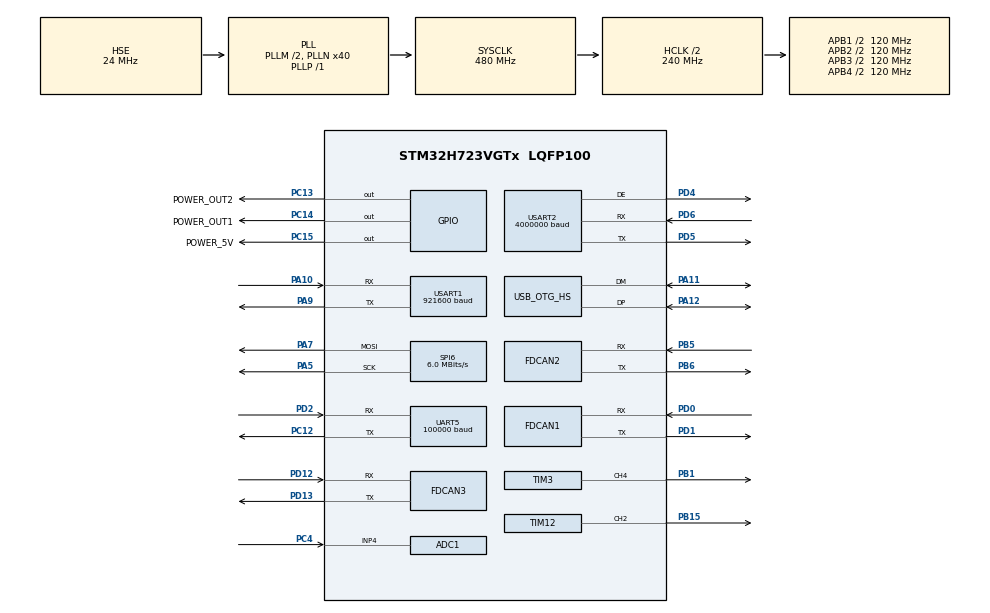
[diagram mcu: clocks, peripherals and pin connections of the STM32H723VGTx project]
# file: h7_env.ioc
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ADC1.Channel-0\#ChannelRegularConversion=ADC_CHANNEL_4
ADC1.ClockPrescaler=ADC_CLOCK_ASYNC_DIV64
ADC1.ContinuousConvMode=ENABLE
ADC1.ConversionDataManagement=ADC_CONVERSIONDATA_DMA_CIRCULAR
ADC1.NbrOfConversionFlag=1
ADC1.OffsetNumber-0\#ChannelRegularConversion=ADC_OFFSET_NONE
ADC1.OffsetSignedSaturation-0\#ChannelRegularConversion=DISABLE
ADC1.Rank-0\#ChannelRegularConversion=1
ADC1.SamplingTime-0\#ChannelRegularConversion=ADC_SAMPLETIME_32CYCLES_5
ADC1.master=1
ADC3.Channel-0\#ChannelRegularConversion=ADC_CHANNEL_TEMPSENSOR
ADC3.ClockPrescaler=ADC_CLOCK_ASYNC_DIV64
ADC3.NbrOfConversionFlag=1
ADC3.OffsetNumber-0\#ChannelRegularConversion=ADC_OFFSET_NONE
ADC3.OffsetSign-0\#ChannelRegularConversion=ADC3_OFFSET_SIGN_NEGATIVE
ADC3.Rank-0\#ChannelRegularConversion=1
ADC3.SamplingTime-0\#ChannelRegularConversion=ADC3_SAMPLETIME_640CYCLES_5
Bdma.Request0=SPI6_TX
Bdma.RequestsNb=1
Bdma.SPI6_TX.0.Direction=DMA_MEMORY_TO_PERIPH
Bdma.SPI6_TX.0.EventEnable=DISABLE
Bdma.SPI6_TX.0.Instance=BDMA_Channel0
Bdma.SPI6_TX.0.MemDataAlignment=DMA_MDATAALIGN_BYTE
Bdma.SPI6_TX.0.MemInc=DMA_MINC_ENABLE
Bdma.SPI6_TX.0.Mode=DMA_NORMAL
Bdma.SPI6_TX.0.PeriphDataAlignment=DMA_PDATAALIGN_BYTE
Bdma.SPI6_TX.0.PeriphInc=DMA_PINC_DISABLE
Bdma.SPI6_TX.0.Polarity=HAL_DMAMUX_REQ_GEN_RISING
Bdma.SPI6_TX.0.Priority=DMA_PRIORITY_MEDIUM
Bdma.SPI6_TX.0.RequestNumber=1
Bdma.SPI6_TX.0.SignalID=NONE
Bdma.SPI6_TX.0.SyncEnable=DISABLE
Bdma.SPI6_TX.0.SyncPolarity=HAL_DMAMUX_SYNC_NO_EVENT
Bdma.SPI6_TX.0.SyncRequestNumber=1
Bdma.SPI6_TX.0.SyncSignalID=NONE
CORTEX_M7.AccessPermission_S-Cortex_Memory_Protection_Unit_Region1_Settings_S=MPU_REGION_FULL_ACCESS
CORTEX_M7.AccessPermission_S-Cortex_Memory_Protection_Unit_Region2_Settings_S=MPU_REGION_FULL_ACCESS
CORTEX_M7.AccessPermission_Spec=MPU_REGION_FULL_ACCESS
CORTEX_M7.BaseAddress_S-Cortex_Memory_Protection_Unit_Region1_Settings_S=0x30000000
CORTEX_M7.BaseAddress_S-Cortex_Memory_Protection_Unit_Region2_Settings_S=0x38000000
CORTEX_M7.BaseAddress_Spec=0x24000000
CORTEX_M7.CPU_DCache=Enabled
CORTEX_M7.CPU_ICache=Enabled
CORTEX_M7.DisableExec_Spec=MPU_INSTRUCTION_ACCESS_ENABLE
CORTEX_M7.Enable_S-Cortex_Memory_Protection_Unit_Region1_Settings_S=MPU_REGION_ENABLE
CORTEX_M7.Enable_S-Cortex_Memory_Protection_Unit_Region2_Settings_S=MPU_REGION_ENABLE
CORTEX_M7.IsShareable_Spec=MPU_ACCESS_NOT_SHAREABLE
CORTEX_M7.MPU_Control=MPU_HFNMI_PRIVDEF
CORTEX_M7.Size_S-Cortex_Memory_Protection_Unit_Region1_Settings_S=MPU_REGION_SIZE_32KB
CORTEX_M7.Size_S-Cortex_Memory_Protection_Unit_Region2_Settings_S=MPU_REGION_SIZE_16KB
CORTEX_M7.Size_Spec=MPU_REGION_SIZE_512KB
CORTEX_M7.SubRegionDisable_Spec=0x0
CORTEX_M7.default_mode_Activation=1
Dma.ADC1.0.Direction=DMA_PERIPH_TO_MEMORY
Dma.ADC1.0.EventEnable=DISABLE
Dma.ADC1.0.FIFOMode=DMA_FIFOMODE_DISABLE
Dma.ADC1.0.Instance=DMA1_Stream0
Dma.ADC1.0.MemDataAlignment=DMA_MDATAALIGN_HALFWORD
Dma.ADC1.0.MemInc=DMA_MINC_ENABLE
Dma.ADC1.0.Mode=DMA_CIRCULAR
Dma.ADC1.0.PeriphDataAlignment=DMA_PDATAALIGN_HALFWORD
Dma.ADC1.0.PeriphInc=DMA_PINC_DISABLE
Dma.ADC1.0.Polarity=HAL_DMAMUX_REQ_GEN_RISING
Dma.ADC1.0.Priority=DMA_PRIORITY_LOW
Dma.ADC1.0.RequestNumber=1
Dma.ADC1.0.SignalID=NONE
Dma.ADC1.0.SyncEnable=DISABLE
Dma.ADC1.0.SyncPolarity=HAL_DMAMUX_SYNC_NO_EVENT
Dma.ADC1.0.SyncRequestNumber=1
Dma.ADC1.0.SyncSignalID=NONE
Dma.Request0=ADC1
Dma.Request1=UART5_RX
Dma.Request2=USART1_RX
Dma.Request3=USART1_TX
Dma.Request4=USART2_RX
Dma.Request5=USART2_TX
Dma.UART5_RX.1.Direction=DMA_PERIPH_TO_MEMORY
Dma.UART5_RX.1.EventEnable=DISABLE
Dma.UART5_RX.1.FIFOMode=DMA_FIFOMODE_DISABLE
Dma.UART5_RX.1.Instance=DMA1_Stream1
Dma.UART5_RX.1.MemDataAlignment=DMA_MDATAALIGN_BYTE
Dma.UART5_RX.1.MemInc=DMA_MINC_ENABLE
Dma.UART5_RX.1.Mode=DMA_CIRCULAR
Dma.UART5_RX.1.PeriphDataAlignment=DMA_PDATAALIGN_BYTE
Dma.UART5_RX.1.PeriphInc=DMA_PINC_DISABLE
Dma.UART5_RX.1.Polarity=HAL_DMAMUX_REQ_GEN_RISING
Dma.UART5_RX.1.Priority=DMA_PRIORITY_VERY_HIGH
Dma.UART5_RX.1.RequestNumber=1
Dma.UART5_RX.1.SignalID=NONE
Dma.UART5_RX.1.SyncEnable=DISABLE
Dma.UART5_RX.1.SyncPolarity=HAL_DMAMUX_SYNC_NO_EVENT
Dma.UART5_RX.1.SyncRequestNumber=1
Dma.UART5_RX.1.SyncSignalID=NONE
Dma.USART1_RX.2.Direction=DMA_PERIPH_TO_MEMORY
Dma.USART1_RX.2.EventEnable=DISABLE
Dma.USART1_RX.2.FIFOMode=DMA_FIFOMODE_DISABLE
Dma.USART1_RX.2.Instance=DMA1_Stream2
Dma.USART1_RX.2.MemDataAlignment=DMA_MDATAALIGN_BYTE
Dma.USART1_RX.2.MemInc=DMA_MINC_ENABLE
Dma.USART1_RX.2.Mode=DMA_CIRCULAR
Dma.USART1_RX.2.PeriphDataAlignment=DMA_PDATAALIGN_BYTE
Dma.USART1_RX.2.PeriphInc=DMA_PINC_DISABLE
Dma.USART1_RX.2.Polarity=HAL_DMAMUX_REQ_GEN_RISING
Dma.USART1_RX.2.Priority=DMA_PRIORITY_VERY_HIGH
Dma.USART1_RX.2.RequestNumber=1
Dma.USART1_RX.2.SignalID=NONE
Dma.USART1_RX.2.SyncEnable=DISABLE
Dma.USART1_RX.2.SyncPolarity=HAL_DMAMUX_SYNC_NO_EVENT
Dma.USART1_RX.2.SyncRequestNumber=1
Dma.USART1_RX.2.SyncSignalID=NONE
Dma.USART1_TX.3.Direction=DMA_MEMORY_TO_PERIPH
Dma.USART1_TX.3.EventEnable=DISABLE
Dma.USART1_TX.3.FIFOMode=DMA_FIFOMODE_DISABLE
Dma.USART1_TX.3.Instance=DMA1_Stream3
Dma.USART1_TX.3.MemDataAlignment=DMA_MDATAALIGN_BYTE
Dma.USART1_TX.3.MemInc=DMA_MINC_ENABLE
Dma.USART1_TX.3.Mode=DMA_NORMAL
Dma.USART1_TX.3.PeriphDataAlignment=DMA_PDATAALIGN_BYTE
Dma.USART1_TX.3.PeriphInc=DMA_PINC_DISABLE
Dma.USART1_TX.3.Polarity=HAL_DMAMUX_REQ_GEN_RISING
Dma.USART1_TX.3.Priority=DMA_PRIORITY_VERY_HIGH
Dma.USART1_TX.3.RequestNumber=1
Dma.USART1_TX.3.SignalID=NONE
Dma.USART1_TX.3.SyncEnable=DISABLE
Dma.USART1_TX.3.SyncPolarity=HAL_DMAMUX_SYNC_NO_EVENT
Dma.USART1_TX.3.SyncRequestNumber=1
Dma.USART1_TX.3.SyncSignalID=NONE
Dma.USART2_RX.4.Direction=DMA_PERIPH_TO_MEMORY
Dma.USART2_RX.4.EventEnable=DISABLE
Dma.USART2_RX.4.FIFOMode=DMA_FIFOMODE_DISABLE
Dma.USART2_RX.4.Instance=DMA1_Stream4
Dma.USART2_RX.4.MemDataAlignment=DMA_MDATAALIGN_BYTE
Dma.USART2_RX.4.MemInc=DMA_MINC_ENABLE
Dma.USART2_RX.4.Mode=DMA_CIRCULAR
Dma.USART2_RX.4.PeriphDataAlignment=DMA_PDATAALIGN_BYTE
Dma.USART2_RX.4.PeriphInc=DMA_PINC_DISABLE
Dma.USART2_RX.4.Polarity=HAL_DMAMUX_REQ_GEN_RISING
Dma.USART2_RX.4.Priority=DMA_PRIORITY_VERY_HIGH
Dma.USART2_RX.4.RequestNumber=1
Dma.USART2_RX.4.SignalID=NONE
Dma.USART2_RX.4.SyncEnable=DISABLE
Dma.USART2_RX.4.SyncPolarity=HAL_DMAMUX_SYNC_NO_EVENT
Dma.USART2_RX.4.SyncRequestNumber=1
Dma.USART2_RX.4.SyncSignalID=NONE
Dma.USART2_TX.5.Direction=DMA_MEMORY_TO_PERIPH
Dma.USART2_TX.5.EventEnable=DISABLE
Dma.USART2_TX.5.FIFOMode=DMA_FIFOMODE_DISABLE
Dma.USART2_TX.5.Instance=DMA1_Stream5
Dma.USART2_TX.5.MemDataAlignment=DMA_MDATAALIGN_BYTE
Dma.USART2_TX.5.MemInc=DMA_MINC_ENABLE
Dma.USART2_TX.5.Mode=DMA_NORMAL
Dma.USART2_TX.5.PeriphDataAlignment=DMA_PDATAALIGN_BYTE
Dma.USART2_TX.5.PeriphInc=DMA_PINC_DISABLE
Dma.USART2_TX.5.Polarity=HAL_DMAMUX_REQ_GEN_RISING
Dma.USART2_TX.5.Priority=DMA_PRIORITY_VERY_HIGH
Dma.USART2_TX.5.RequestNumber=1
Dma.USART2_TX.5.SignalID=NONE
Dma.USART2_TX.5.SyncEnable=DISABLE
Dma.USART2_TX.5.SyncPolarity=HAL_DMAMUX_SYNC_NO_EVENT
Dma.USART2_TX.5.SyncRequestNumber=1
Dma.USART2_TX.5.SyncSignalID=NONE
FDCAN1.AutoRetransmission=ENABLE
FDCAN1.CalculateBaudRateNominal=999999
FDCAN1.CalculateTimeBitNominal=1000
FDCAN1.CalculateTimeQuantumNominal=16.666666666666668
FDCAN1.DataPrescaler=2
FDCAN1.DataSyncJumpWidth=3
FDCAN1.DataTimeSeg1=8
FDCAN1.DataTimeSeg2=3
FDCAN1.ExtFiltersNbr=4
FDCAN1.FrameFormat=FDCAN_FRAME_FD_BRS
FDCAN1.NominalPrescaler=2
FDCAN1.NominalSyncJumpWidth=15
FDCAN1.NominalTimeSeg1=44
FDCAN1.NominalTimeSeg2=15
FDCAN1.ProtocolException=ENABLE
FDCAN1.RxFifo0ElmtsNbr=12
FDCAN1.StdFiltersNbr=4
FDCAN1.TxFifoQueueElmtsNbr=12
FDCAN2.AutoRetransmission=ENABLE
FDCAN2.CalculateBaudRateNominal=999999
FDCAN2.CalculateTimeBitNominal=1000
FDCAN2.CalculateTimeQuantumNominal=16.666666666666668
FDCAN2.DataPrescaler=2
FDCAN2.DataSyncJumpWidth=3
FDCAN2.DataTimeSeg1=8
FDCAN2.DataTimeSeg2=3
FDCAN2.ExtFiltersNbr=5
FDCAN2.FrameFormat=FDCAN_FRAME_FD_BRS
FDCAN2.MessageRAMOffset=854
FDCAN2.NominalPrescaler=2
FDCAN2.NominalSyncJumpWidth=15
FDCAN2.NominalTimeSeg1=44
FDCAN2.NominalTimeSeg2=15
FDCAN2.ProtocolException=ENABLE
FDCAN2.RxFifo0ElmtsNbr=10
FDCAN2.StdFiltersNbr=5
FDCAN2.TxFifoQueueElmtsNbr=10
FDCAN3.AutoRetransmission=ENABLE
FDCAN3.CalculateBaudRateNominal=1000000
FDCAN3.CalculateTimeBitNominal=1000
FDCAN3.CalculateTimeQuantumNominal=25.0
FDCAN3.DataPrescaler=3
FDCAN3.DataSyncJumpWidth=10
FDCAN3.DataTimeSeg1=29
FDCAN3.DataTimeSeg2=10
FDCAN3.ExtFiltersNbr=6
FDCAN3.MessageRAMOffset=1709
FDCAN3.NominalPrescaler=3
FDCAN3.NominalSyncJumpWidth=10
FDCAN3.NominalTimeSeg1=29
FDCAN3.NominalTimeSeg2=10
FDCAN3.ProtocolException=ENABLE
FDCAN3.RxFifo0ElmtsNbr=8
FDCAN3.StdFiltersNbr=6
FDCAN3.TxFifoQueueElmtsNbr=8
FREERTOS.Tasks01=defaultTask,24,128,StartDefaultTask,Default,NULL,Dynamic,NULL,NULL;LED_CTRL_TASK,24,128,led_ctrl,As weak,NULL,Dynamic,NULL,NULL
Mcu.Family=STM32H7
Mcu.Name=STM32H723VGTx
Mcu.Package=LQFP100
NVIC.BDMA_Channel0_IRQn=true\:5\:0\:false\:false\:true\:true\:false\:true\:true
NVIC.DMA1_Stream0_IRQn=true\:5\:0\:false\:false\:true\:true\:false\:true\:true
NVIC.DMA1_Stream1_IRQn=true\:5\:0\:false\:false\:true\:true\:false\:true\:true
NVIC.DMA1_Stream2_IRQn=true\:5\:0\:false\:false\:true\:true\:false\:true\:true
NVIC.DMA1_Stream3_IRQn=true\:5\:0\:false\:false\:true\:true\:false\:true\:true
NVIC.DMA1_Stream4_IRQn=true\:5\:0\:false\:false\:true\:true\:false\:true\:true
NVIC.DMA1_Stream5_IRQn=true\:5\:0\:false\:false\:true\:true\:false\:true\:true
NVIC.FDCAN1_IT0_IRQn=true\:5\:0\:false\:false\:true\:true\:true\:true\:true
NVIC.FDCAN2_IT0_IRQn=true\:5\:0\:false\:false\:true\:true\:true\:true\:true
NVIC.FDCAN3_IT0_IRQn=true\:5\:0\:false\:false\:true\:true\:true\:true\:true
NVIC.OTG_HS_IRQn=true\:5\:0\:false\:false\:true\:true\:false\:true\:true
NVIC.PriorityGroup=NVIC_PRIORITYGROUP_4
NVIC.SPI6_IRQn=true\:5\:0\:false\:false\:true\:true\:false\:true\:true
NVIC.TIM3_IRQn=true\:5\:0\:false\:false\:true\:true\:true\:true\:true
NVIC.TIM4_IRQn=true\:5\:0\:false\:false\:true\:true\:true\:true\:true
NVIC.TIM5_IRQn=true\:5\:0\:false\:false\:true\:true\:true\:true\:true
NVIC.TIM6_DAC_IRQn=true\:15\:0\:false\:false\:true\:false\:false\:true\:true
NVIC.TimeBase=TIM6_DAC_IRQn
NVIC.TimeBaseIP=TIM6
NVIC.UART5_IRQn=true\:5\:0\:false\:false\:true\:true\:true\:true\:true
NVIC.USART1_IRQn=true\:5\:0\:false\:false\:true\:true\:true\:true\:true
NVIC.USART2_IRQn=true\:5\:0\:false\:false\:true\:true\:false\:true\:true
PA10.GPIO_PuPd=GPIO_PULLUP
PA10.GPIO_Speed=GPIO_SPEED_FREQ_VERY_HIGH
PA10.Mode=Asynchronous
PA10.Signal=USART1_RX
PA11.Mode=Device_Only_FS
PA11.Signal=USB_OTG_HS_DM
PA12.Mode=Device_Only_FS
PA12.Signal=USB_OTG_HS_DP
PA13(JTMS/SWDIO).Mode=Serial_Wire
PA13(JTMS/SWDIO).Signal=DEBUG_JTMS-SWDIO
PA14(JTCK/SWCLK).Mode=Serial_Wire
PA14(JTCK/SWCLK).Signal=DEBUG_JTCK-SWCLK
PA5.GPIO_Speed=GPIO_SPEED_FREQ_VERY_HIGH
PA5.Mode=TX_Only_Simplex_Unidirect_Master
PA5.Signal=SPI6_SCK
PA7.GPIO_Speed=GPIO_SPEED_FREQ_VERY_HIGH
PA7.Mode=TX_Only_Simplex_Unidirect_Master
PA7.Signal=SPI6_MOSI
PA9.GPIO_PuPd=GPIO_PULLUP
PA9.GPIO_Speed=GPIO_SPEED_FREQ_VERY_HIGH
PA9.Mode=Asynchronous
PA9.Signal=USART1_TX
PB1.GPIO_PuPd=GPIO_PULLUP
PB1.GPIO_Speed=GPIO_SPEED_FREQ_VERY_HIGH
PB1.Signal=S_TIM3_CH4
PB15.GPIO_PuPd=GPIO_PULLUP
PB15.GPIO_Speed=GPIO_SPEED_FREQ_VERY_HIGH
PB15.Signal=S_TIM12_CH2
PB5.GPIO_PuPd=GPIO_PULLUP
PB5.GPIO_Speed=GPIO_SPEED_FREQ_VERY_HIGH
PB5.Mode=FDCAN_Activate
PB5.Signal=FDCAN2_RX
PB6.GPIO_PuPd=GPIO_PULLUP
PB6.GPIO_Speed=GPIO_SPEED_FREQ_VERY_HIGH
PB6.Mode=FDCAN_Activate
PB6.Signal=FDCAN2_TX
PC12.Mode=Asynchronous
PC12.Signal=UART5_TX
PC13.GPIO_Label=POWER_OUT2
PC13.GPIO_PuPd=GPIO_PULLUP
PC13.Signal=GPIO_Output
PC14-OSC32_IN.GPIO_Label=POWER_OUT1
PC14-OSC32_IN.GPIO_PuPd=GPIO_PULLUP
PC14-OSC32_IN.Signal=GPIO_Output
PC15-OSC32_OUT.GPIO_Label=POWER_5V
PC15-OSC32_OUT.GPIO_PuPd=GPIO_PULLUP
PC15-OSC32_OUT.Signal=GPIO_Output
PC4.Signal=ADCx_INP4
PD0.GPIO_PuPd=GPIO_PULLUP
PD0.GPIO_Speed=GPIO_SPEED_FREQ_VERY_HIGH
PD0.Mode=FDCAN_Activate
PD0.Signal=FDCAN1_RX
PD1.GPIO_PuPd=GPIO_PULLUP
PD1.GPIO_Speed=GPIO_SPEED_FREQ_VERY_HIGH
PD1.Mode=FDCAN_Activate
PD1.Signal=FDCAN1_TX
PD12.GPIO_PuPd=GPIO_PULLUP
PD12.GPIO_Speed=GPIO_SPEED_FREQ_VERY_HIGH
PD12.Mode=FDCAN_Activate
PD12.Signal=FDCAN3_RX
PD13.GPIO_PuPd=GPIO_PULLUP
PD13.GPIO_Speed=GPIO_SPEED_FREQ_VERY_HIGH
PD13.Mode=FDCAN_Activate
PD13.Signal=FDCAN3_TX
PD2.GPIO_PuPd=GPIO_PULLUP
PD2.GPIO_Speed=GPIO_SPEED_FREQ_VERY_HIGH
PD2.Mode=Asynchronous
PD2.Signal=UART5_RX
PD4.GPIO_PuPd=GPIO_PULLUP
PD4.GPIO_Speed=GPIO_SPEED_FREQ_VERY_HIGH
PD4.Mode=Hardware Flow Control (RS485)
PD4.Signal=USART2_DE
PD5.GPIO_PuPd=GPIO_PULLUP
PD5.GPIO_Speed=GPIO_SPEED_FREQ_VERY_HIGH
PD5.Mode=Asynchronous
PD5.Signal=USART2_TX
PD6.GPIO_PuPd=GPIO_PULLUP
PD6.GPIO_Speed=GPIO_SPEED_FREQ_VERY_HIGH
PD6.Mode=Asynchronous
PD6.Signal=USART2_RX
PH0-OSC_IN.Mode=HSE-External-Oscillator
PH0-OSC_IN.Signal=RCC_OSC_IN
PH1-OSC_OUT.Mode=HSE-External-Oscillator
PH1-OSC_OUT.Signal=RCC_OSC_OUT
ProjectManager.HeapSize=0x2000
ProjectManager.StackSize=0x4000
ProjectManager.TargetToolchain=CMake
RCC.ADCFreq_Value=100000000
RCC.APB1Freq_Value=120000000
RCC.APB2Freq_Value=120000000
RCC.APB3Freq_Value=120000000
RCC.APB4Freq_Value=120000000
RCC.CortexFreq_Value=480000000
RCC.D1PPRE=RCC_APB3_DIV2
RCC.D2PPRE1=RCC_APB1_DIV2
RCC.D2PPRE2=RCC_APB2_DIV2
RCC.D3PPRE=RCC_APB4_DIV2
RCC.DIVM1=2
RCC.DIVM2=24
RCC.DIVN1=40
RCC.DIVN2=200
RCC.DIVP1=1
RCC.DIVQ1=4
RCC.HCLKFreq_Value=240000000
RCC.HPRE=RCC_HCLK_DIV2
RCC.HSE_VALUE=24000000
RCC.PLLFRACN=0
RCC.PLLSourceVirtual=RCC_PLLSOURCE_HSE
RCC.SPI6CLockSelection=RCC_SPI6CLKSOURCE_HSE
RCC.SYSCLKFreq_VALUE=480000000
RCC.SYSCLKSource=RCC_SYSCLKSOURCE_PLLCLK
RCC.USBCLockSelection=RCC_USBCLKSOURCE_HSI48
RCC.USBFreq_Value=48000000
SH.ADCx_INP4.0=ADC1_INP4,IN4-Single-Ended
SH.S_TIM12_CH2.0=TIM12_CH2,PWM Generation2 CH2
SH.S_TIM3_CH4.0=TIM3_CH4,PWM Generation4 CH4
SPI6.BaudRatePrescaler=SPI_BAUDRATEPRESCALER_4
SPI6.CLKPhase=SPI_PHASE_2EDGE
SPI6.CalculateBaudRate=6.0 MBits/s
SPI6.DataSize=SPI_DATASIZE_8BIT
SPI6.Direction=SPI_DIRECTION_2LINES_TXONLY
SPI6.Mode=SPI_MODE_MASTER
SPI6.VirtualType=VM_MASTER
STMicroelectronics.X-CUBE-ALGOBUILD.1.5.0.LibraryCcDSPOoLibraryJjDSPOoLibrary=true
TIM12.Channel-PWM\ Generation2\ CH2=TIM_CHANNEL_2
TIM12.Period=0
TIM12.Prescaler=24000-1
TIM3.Channel-PWM\ Generation4\ CH4=TIM_CHANNEL_4
TIM3.Period=10000-1
TIM3.Prescaler=24-1
TIM4.Period=1000-1
TIM4.Prescaler=120-1
TIM5.Period=1000-1
TIM5.Prescaler=160-1
UART5.BaudRate=100000
UART5.Parity=PARITY_EVEN
UART5.StopBits=UART_STOPBITS_2
UART5.WordLength=WORDLENGTH_9B
USART1.BaudRate=921600
USART1.VirtualMode-Asynchronous=VM_ASYNC
USART2.BaudRate=4000000
USART2.VirtualMode-Asynchronous=VM_ASYNC
USART2.VirtualMode-Hardware\ Flow\ Control\ (RS485)=VM_ASYNC
USB_DEVICE.CLASS_NAME_HS=CDC
USB_DEVICE.VirtualMode=Cdc
USB_DEVICE.VirtualModeHS=Cdc_HS
USB_OTG_HS.VirtualMode-Device_Only_FS=Device_Only_FS
VP_ADC3_TempSens_Input.Mode=IN-TempSens
VP_FREERTOS_VS_CMSIS_V2.Mode=CMSIS_V2
VP_MEMORYMAP_VS_MEMORYMAP.Mode=CurAppReg
VP_STMicroelectronics.X-CUBE-ALGOBUILD_VS_DSPOoLibraryJjLibrary_1.5.0_1.5.0.Mode=DSPOoLibraryJjLibrary
VP_SYS_VS_tim6.Mode=TIM6
VP_TIM12_VS_ClockSourceINT.Mode=Internal
VP_TIM3_VS_ClockSourceINT.Mode=Internal
VP_TIM4_VS_ClockSourceINT.Mode=Internal
VP_TIM5_VS_ClockSourceINT.Mode=Internal
VP_USB_DEVICE_VS_USB_DEVICE_CDC_HS.Mode=CDC_HS
board=custom

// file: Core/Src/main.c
/* USER CODE BEGIN Header */
/**
  ******************************************************************************
  * @file           : main.c
  * @brief          : Main program body
  ******************************************************************************
  * @attention
  *
  * Copyright (c) 2026 STMicroelectronics.
  * All rights reserved.
  *
  * This software is licensed under terms that can be found in the LICENSE file
  * in the root directory of this software component.
  * If no LICENSE file comes with this software, it is provided AS-IS.
  *
  ******************************************************************************
  */
/* USER CODE END Header */
#include "main.h"
#include "FreeRTOS.h"
#include "cmsis_os2.h"
#include "adc.h"
#include "bdma.h"
#include "dma.h"
#include "fdcan.h"
#include "spi.h"
#include "tim.h"
#include "usart.h"
#include "usb_device.h"
#include "gpio.h"

/* USER CODE BEGIN Includes */
#include "system_monitor.h"
/* USER CODE END Includes */

void SystemClock_Config(void);
void PeriphCommonClock_Config(void);
static void MPU_Config(void);
void MX_FREERTOS_Init(void);

int main(void)
{

  /* MPU Configuration--------------------------------------------------------*/
  MPU_Config();

  /* Enable the CPU Cache */

  /* Enable I-Cache---------------------------------------------------------*/
  SCB_EnableICache();

  /* Enable D-Cache---------------------------------------------------------*/
  SCB_EnableDCache();

  /* MCU Configuration--------------------------------------------------------*/

  /* Reset of all peripherals, Initializes the Flash interface and the Systick. */
  HAL_Init();

  /* Configure the system clock */
  SystemClock_Config();

  /* Configure the peripherals common clocks */
  PeriphCommonClock_Config();

  /* Initialize all configured peripherals */
  MX_GPIO_Init();
  MX_BDMA_Init();
  MX_DMA_Init();
  MX_FDCAN1_Init();
  MX_FDCAN2_Init();
  MX_FDCAN3_Init();
  MX_SPI6_Init();
  MX_ADC1_Init();
  MX_ADC3_Init();
  MX_TIM3_Init();
  MX_TIM4_Init();
  MX_TIM5_Init();
  MX_TIM12_Init();
  MX_UART5_Init();
  MX_USART1_UART_Init();
  MX_USART2_UART_Init();
  /* USER CODE BEGIN 2 */
  HAL_TIM_Base_Start_IT((TIM_HandleTypeDef*)&htim3);
  HAL_TIM_Base_Start_IT((TIM_HandleTypeDef*)&htim4);
  HAL_TIM_Base_Start_IT((TIM_HandleTypeDef*)&htim5);

  HAL_GPIO_WritePin(POWER_5V_GPIO_Port,POWER_5V_Pin,GPIO_PIN_SET);
  /* USER CODE END 2 */

  /* Init scheduler */
  osKernelInitialize();  /* Call init function for freertos objects (in cmsis_os2.c) */
  MX_FREERTOS_Init();

  /* Start scheduler */
  osKernelStart();

  /* We should never get here as control is now taken by the scheduler */

  /* Infinite loop */
  while (1)
  {

  }
}

void SystemClock_Config(void)
{
  RCC_OscInitTypeDef RCC_OscInitStruct = {0};
  RCC_ClkInitTypeDef RCC_ClkInitStruct = {0};

  /** Supply configuration update enable
  */
  HAL_PWREx_ConfigSupply(PWR_LDO_SUPPLY);

  /** Configure the main internal regulator output voltage
  */
  __HAL_PWR_VOLTAGESCALING_CONFIG(PWR_REGULATOR_VOLTAGE_SCALE0);

  while(!__HAL_PWR_GET_FLAG(PWR_FLAG_VOSRDY)) {}

  /** Initializes the RCC Oscillators according to the specified parameters
  * in the RCC_OscInitTypeDef structure.
  */
  RCC_OscInitStruct.OscillatorType = RCC_OSCILLATORTYPE_HSI48|RCC_OSCILLATORTYPE_HSE;
  RCC_OscInitStruct.HSEState = RCC_HSE_ON;
  RCC_OscInitStruct.HSI48State = RCC_HSI48_ON;
  RCC_OscInitStruct.PLL.PLLState = RCC_PLL_ON;
  RCC_OscInitStruct.PLL.PLLSource = RCC_PLLSOURCE_HSE;
  RCC_OscInitStruct.PLL.PLLM = 2;
  RCC_OscInitStruct.PLL.PLLN = 40;
  RCC_OscInitStruct.PLL.PLLP = 1;
  RCC_OscInitStruct.PLL.PLLQ = 4;
  RCC_OscInitStruct.PLL.PLLR = 2;
  RCC_OscInitStruct.PLL.PLLRGE = RCC_PLL1VCIRANGE_3;
  RCC_OscInitStruct.PLL.PLLVCOSEL = RCC_PLL1VCOWIDE;
  RCC_OscInitStruct.PLL.PLLFRACN = 0;
  if (HAL_RCC_OscConfig(&RCC_OscInitStruct) != HAL_OK)
  {
    Error_Handler();
  }

  /** Initializes the CPU, AHB and APB buses clocks
  */
  RCC_ClkInitStruct.ClockType = RCC_CLOCKTYPE_HCLK|RCC_CLOCKTYPE_SYSCLK
                              |RCC_CLOCKTYPE_PCLK1|RCC_CLOCKTYPE_PCLK2
                              |RCC_CLOCKTYPE_D3PCLK1|RCC_CLOCKTYPE_D1PCLK1;
  RCC_ClkInitStruct.SYSCLKSource = RCC_SYSCLKSOURCE_PLLCLK;
  RCC_ClkInitStruct.SYSCLKDivider = RCC_SYSCLK_DIV1;
  RCC_ClkInitStruct.AHBCLKDivider = RCC_HCLK_DIV2;
  RCC_ClkInitStruct.APB3CLKDivider = RCC_APB3_DIV2;
  RCC_ClkInitStruct.APB1CLKDivider = RCC_APB1_DIV2;
  RCC_ClkInitStruct.APB2CLKDivider = RCC_APB2_DIV2;
  RCC_ClkInitStruct.APB4CLKDivider = RCC_APB4_DIV2;

  if (HAL_RCC_ClockConfig(&RCC_ClkInitStruct, FLASH_LATENCY_3) != HAL_OK)
  {
    Error_Handler();
  }
}

void PeriphCommonClock_Config(void)
{
  RCC_PeriphCLKInitTypeDef PeriphClkInitStruct = {0};

  /** Initializes the peripherals clock
  */
  PeriphClkInitStruct.PeriphClockSelection = RCC_PERIPHCLK_ADC;
  PeriphClkInitStruct.PLL2.PLL2M = 24;
  PeriphClkInitStruct.PLL2.PLL2N = 200;
  PeriphClkInitStruct.PLL2.PLL2P = 2;
  PeriphClkInitStruct.PLL2.PLL2Q = 2;
  PeriphClkInitStruct.PLL2.PLL2R = 2;
  PeriphClkInitStruct.PLL2.PLL2RGE = RCC_PLL2VCIRANGE_0;
  PeriphClkInitStruct.PLL2.PLL2VCOSEL = RCC_PLL2VCOMEDIUM;
  PeriphClkInitStruct.PLL2.PLL2FRACN = 0;
  PeriphClkInitStruct.AdcClockSelection = RCC_ADCCLKSOURCE_PLL2;
  if (HAL_RCCEx_PeriphCLKConfig(&PeriphClkInitStruct) != HAL_OK)
  {
    Error_Handler();
  }
}

 /* MPU Configuration */

void MPU_Config(void)
{
  MPU_Region_InitTypeDef MPU_InitStruct = {0};

  /* Disables the MPU */
  HAL_MPU_Disable();

  /** Initializes and configures the Region and the memory to be protected
  */
  MPU_InitStruct.Enable = MPU_REGION_ENABLE;
  MPU_InitStruct.Number = MPU_REGION_NUMBER0;
  MPU_InitStruct.BaseAddress = 0x24000000;
  MPU_InitStruct.Size = MPU_REGION_SIZE_512KB;
  MPU_InitStruct.SubRegionDisable = 0x0;
  MPU_InitStruct.TypeExtField = MPU_TEX_LEVEL0;
  MPU_InitStruct.AccessPermission = MPU_REGION_FULL_ACCESS;
  MPU_InitStruct.DisableExec = MPU_INSTRUCTION_ACCESS_ENABLE;
  MPU_InitStruct.IsShareable = MPU_ACCESS_NOT_SHAREABLE;
  MPU_InitStruct.IsCacheable = MPU_ACCESS_NOT_CACHEABLE;
  MPU_InitStruct.IsBufferable = MPU_ACCESS_NOT_BUFFERABLE;

  HAL_MPU_ConfigRegion(&MPU_InitStruct);

  /** Initializes and configures the Region and the memory to be protected
  */
  MPU_InitStruct.Number = MPU_REGION_NUMBER1;
  MPU_InitStruct.BaseAddress = 0x30000000;
  MPU_InitStruct.Size = MPU_REGION_SIZE_32KB;

  HAL_MPU_ConfigRegion(&MPU_InitStruct);

  /** Initializes and configures the Region and the memory to be protected
  */
  MPU_InitStruct.Number = MPU_REGION_NUMBER2;
  MPU_InitStruct.BaseAddress = 0x38000000;
  MPU_InitStruct.Size = MPU_REGION_SIZE_16KB;

  HAL_MPU_ConfigRegion(&MPU_InitStruct);
  /* Enables the MPU */
  HAL_MPU_Enable(MPU_HFNMI_PRIVDEF);

}

void HAL_TIM_PeriodElapsedCallback(TIM_HandleTypeDef *htim)
{
  /* USER CODE BEGIN Callback 0 */
  if (htim->Instance == TIM6)
  {
    system_monitor.TaskTotalTime++;
  }
  /* USER CODE END Callback 0 */
  if (htim->Instance == TIM6)
  {
    HAL_IncTick();
  }
  /* USER CODE BEGIN Callback 1 */
  if (htim->Instance == TIM3)
  {
    system_monitor.Tim3_cnt++;
  }
  if (htim->Instance == TIM4)
  {
    system_monitor.Tim4_cnt++;
  }
  if (htim->Instance == TIM5)
  {
    system_monitor.Tim5_cnt++;
  }
  /* USER CODE END Callback 1 */
}

void Error_Handler(void)
{
  __disable_irq();
  while (1)
  {
  }
}

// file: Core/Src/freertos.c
/* USER CODE BEGIN Header */
/**
  ******************************************************************************
  * File Name          : freertos.c
  * Description        : Code for freertos applications
  ******************************************************************************
  * @attention
  *
  * Copyright (c) 2026 STMicroelectronics.
  * All rights reserved.
  *
  * This software is licensed under terms that can be found in the LICENSE file
  * in the root directory of this software component.
  * If no LICENSE file comes with this software, it is provided AS-IS.
  *
  ******************************************************************************
  */
/* USER CODE END Header */

#include "FreeRTOS.h"
#include "task.h"
#include "main.h"
#include "FreeRTOS.h"
#include "cmsis_os2.h"

/* USER CODE BEGIN Includes */
#include "system_monitor.h"
/* USER CODE END Includes */

/* Definitions for defaultTask */
osThreadId_t defaultTaskHandle;
const osThreadAttr_t defaultTask_attributes = {
  .name = "defaultTask",
  .stack_size = 128 * 4,
  .priority = (osPriority_t) osPriorityNormal,
};
/* Definitions for LED_CTRL_TASK */
osThreadId_t LED_CTRL_TASKHandle;
const osThreadAttr_t LED_CTRL_TASK_attributes = {
  .name = "LED_CTRL_TASK",
  .stack_size = 128 * 4,
  .priority = (osPriority_t) osPriorityNormal,
};

void StartDefaultTask(void *argument);
void led_ctrl(void *argument);

extern void MX_USB_DEVICE_Init(void);
void MX_FREERTOS_Init(void); /* (MISRA C 2004 rule 8.1) */

void MX_FREERTOS_Init(void) {

  /* Create the thread(s) */
  /* creation of defaultTask */
  defaultTaskHandle = osThreadNew(StartDefaultTask, NULL, &defaultTask_attributes);

  /* creation of LED_CTRL_TASK */
  LED_CTRL_TASKHandle = osThreadNew(led_ctrl, NULL, &LED_CTRL_TASK_attributes);

}

void StartDefaultTask(void *argument)
{
  /* init code for USB_DEVICE */
  MX_USB_DEVICE_Init();
  /* USER CODE BEGIN StartDefaultTask */
  /* Infinite loop */
  for(;;)
  {
    SystemErrorDetect();
    osDelay(1000);
  }
  /* USER CODE END StartDefaultTask */
}

__weak void led_ctrl(void *argument)
{
  for(;;)
  {
    osDelay(1);
  }
}
